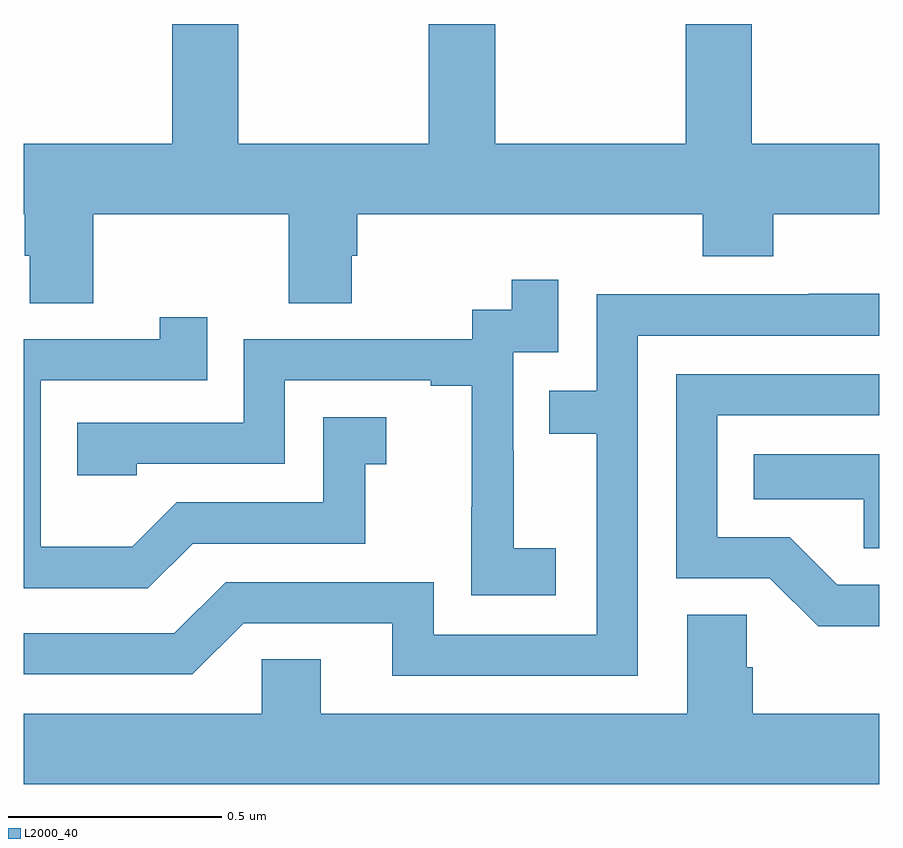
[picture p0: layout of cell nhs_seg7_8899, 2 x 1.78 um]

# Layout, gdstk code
import gdstk
lib = gdstk.Library(unit=1e-6, precision=1e-09)
def P(c, l, *ps):  # polygons
    for p in ps: c.add(gdstk.Polygon(p, *l))
L2000_40 = (2000, 40)

nhs_seg7_8899 = lib.new_cell('nhs_seg7_8899')
P(nhs_seg7_8899, L2000_40, [(230.163,1060.556),(230.62,1060.556),(230.62,1060.348),(230.767,1060.348),(230.767,1060.458),(230.78,1060.458),(230.78,1060.556),(231.587,1060.556),(231.587,1060.457),(231.752,1060.457),(231.752,1060.556),(232,1060.556),(232,1060.72),(231.702,1060.72),(231.702,1061),(231.547,1061),(231.547,1060.72),(231.102,1060.72),(231.102,1061),(230.947,1061),(230.947,1060.72),(230.502,1060.72),(230.502,1061),(230.347,1061),(230.347,1060.72),(230,1060.72),(230,1060.556),(230.003,1060.556),(230.003,1060.458),(230.015,1060.458),(230.015,1060.348),(230.163,1060.348)],
  [(231.244,1059.775),(231.146,1059.775),(231.146,1060.004),(231.144,1060.004),(231.144,1060.233),(231.249,1060.233),(231.249,1060.402),(231.141,1060.402),(231.141,1060.332),(231.048,1060.332),(231.048,1060.263),(230.514,1060.263),(230.514,1060.068),(230.125,1060.068),(230.125,1059.945),(230.265,1059.945),(230.265,1059.972),(230.61,1059.972),(230.61,1060.167),(230.951,1060.167),(230.951,1060.155),(231.047,1060.155),(231.047,1059.871),(231.046,1059.871),(231.046,1059.665),(231.244,1059.665)],
  [(231.435,1060.272),(232,1060.272),(232,1060.37),(231.835,1060.37),(231.835,1060.368),(231.339,1060.368),(231.339,1060.143),(231.229,1060.143),(231.229,1060.042),(231.339,1060.042),(231.339,1059.573),(230.958,1059.573),(230.958,1059.696),(230.472,1059.696),(230.352,1059.576),(230,1059.576),(230,1059.48),(230.394,1059.48),(230.514,1059.6),(230.861,1059.6),(230.861,1059.477),(231.435,1059.477)],
  [(230.395,1059.786),(230.799,1059.786),(230.799,1059.971),(230.848,1059.971),(230.848,1060.081),(230.7,1060.081),(230.7,1059.882),(230.358,1059.882),(230.254,1059.778),(230.04,1059.778),(230.04,1060.167),(230.429,1060.167),(230.429,1060.315),(230.318,1060.315),(230.318,1060.263),(230,1060.263),(230,1059.681),(230.29,1059.681)],
  [(232,1059.69),(231.901,1059.69),(231.79,1059.801),(231.621,1059.801),(231.621,1060.086),(232,1060.086),(232,1060.182),(231.525,1060.182),(231.525,1059.705),(231.744,1059.705),(231.857,1059.593),(232,1059.593)],
  [(232,1059.994),(231.706,1059.994),(231.706,1059.89),(231.963,1059.89),(231.963,1059.775),(232,1059.775)],
  [(232,1059.388),(231.704,1059.388),(231.704,1059.497),(231.69,1059.497),(231.69,1059.62),(231.551,1059.62),(231.551,1059.388),(230.695,1059.388),(230.695,1059.515),(230.556,1059.515),(230.556,1059.388),(230,1059.388),(230,1059.224),(232,1059.224)])

lib.write_gds('nhs_seg7_8899.gds')
